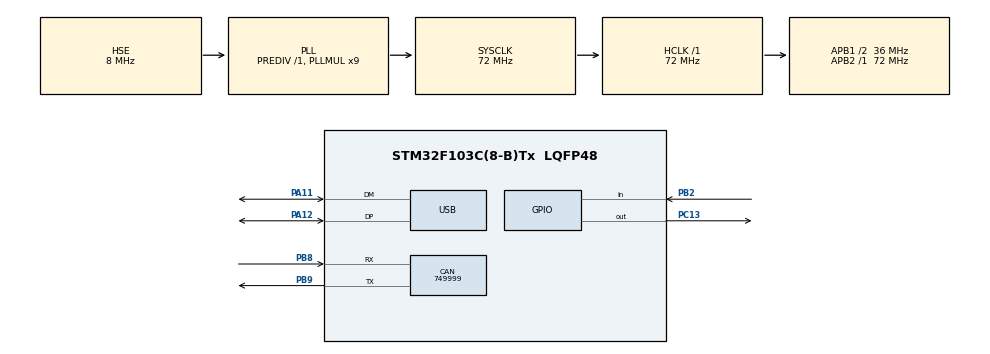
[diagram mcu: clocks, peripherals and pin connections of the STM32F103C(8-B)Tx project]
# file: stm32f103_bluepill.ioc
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CAN.CalculateBaudRate=749999
CAN.CalculateTimeBit=1333
CAN.CalculateTimeQuantum=444.44444444444446
FREERTOS.Tasks01=Task00_1ms,24,128,StartTask00,Default,NULL,Dynamic,NULL,NULL;Task01_10ms,24,128,StartTask01,Default,NULL,Dynamic,NULL,NULL;Task02_100ms,24,128,StartTask02,Default,NULL,Dynamic,NULL,NULL;Task03_1000ms,24,128,StartTask03,Default,NULL,Dynamic,NULL,NULL
FREERTOS.configUSE_NEWLIB_REENTRANT=1
Mcu.Family=STM32F1
Mcu.Name=STM32F103C(8-B)Tx
Mcu.Package=LQFP48
NVIC.PriorityGroup=NVIC_PRIORITYGROUP_4
NVIC.TIM3_IRQn=true\:15\:0\:false\:false\:true\:false\:false\:true\:true
NVIC.TimeBase=TIM3_IRQn
NVIC.TimeBaseIP=TIM3
NVIC.USB_LP_CAN1_RX0_IRQn=true\:5\:0\:false\:false\:true\:true\:false\:true\:true
PA11.Mode=Device
PA11.Signal=USB_DM
PA12.Mode=Device
PA12.Signal=USB_DP
PA13.Mode=Serial_Wire
PA13.Signal=SYS_JTMS-SWDIO
PA14.Mode=Serial_Wire
PA14.Signal=SYS_JTCK-SWCLK
PA2.Signal=USART2_TX
PA3.Signal=USART2_RX
PB2.Signal=GPIO_Input
PB8.Mode=CAN_Activate
PB8.Signal=CAN_RX
PB9.Mode=CAN_Activate
PB9.Signal=CAN_TX
PC13-TAMPER-RTC.Signal=GPIO_Output
PC14-OSC32_IN.Mode=LSE-External-Oscillator
PC14-OSC32_IN.Signal=RCC_OSC32_IN
PC15-OSC32_OUT.Mode=LSE-External-Oscillator
PC15-OSC32_OUT.Signal=RCC_OSC32_OUT
PD0-OSC_IN.Mode=HSE-External-Oscillator
PD0-OSC_IN.Signal=RCC_OSC_IN
PD1-OSC_OUT.Mode=HSE-External-Oscillator
PD1-OSC_OUT.Signal=RCC_OSC_OUT
ProjectManager.HeapSize=0x200
ProjectManager.StackSize=0x400
ProjectManager.TargetToolchain=STM32CubeIDE
RCC.AHBFreq_Value=72000000
RCC.APB1CLKDivider=RCC_HCLK_DIV2
RCC.APB1Freq_Value=36000000
RCC.APB1TimFreq_Value=72000000
RCC.APB2Freq_Value=72000000
RCC.APB2TimFreq_Value=72000000
RCC.HCLKFreq_Value=72000000
RCC.PLLMUL=RCC_PLL_MUL9
RCC.SYSCLKFreq_VALUE=72000000
RCC.SYSCLKSource=RCC_SYSCLKSOURCE_PLLCLK
RCC.USBFreq_Value=48000000
RCC.USBPrescaler=RCC_USBCLKSOURCE_PLL_DIV1_5
USB_DEVICE.CLASS_NAME_FS=DFU
USB_DEVICE.VirtualMode=Dfu
USB_DEVICE.VirtualModeFS=Dfu_FS
VP_FREERTOS_VS_CMSIS_V2.Mode=CMSIS_V2
VP_SYS_VS_tim3.Mode=TIM3
VP_USB_DEVICE_VS_USB_DEVICE_DFU_FS.Mode=DFU_FS
board=custom

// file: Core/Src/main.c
/* USER CODE BEGIN Header */
/**
  ******************************************************************************
  * @file           : main.c
  * @brief          : Main program body
  ******************************************************************************
  * @attention
  *
  * Copyright (c) 2025 STMicroelectronics.
  * All rights reserved.
  *
  * This software is licensed under terms that can be found in the LICENSE file
  * in the root directory of this software component.
  * If no LICENSE file comes with this software, it is provided AS-IS.
  *
  ******************************************************************************
  */
/* USER CODE END Header */
#include "main.h"
#include "cmsis_os.h"
#include "can.h"
#include "usb_device.h"
#include "gpio.h"

/* USER CODE BEGIN PV */
uint32_t count = 0;

/* USER CODE END PV */

void SystemClock_Config(void);
void MX_FREERTOS_Init(void);

int main(void)
{

  /* USER CODE BEGIN 1 */
  count++; // count = 1
  /* USER CODE END 1 */

  /* MCU Configuration--------------------------------------------------------*/

  /* Reset of all peripherals, Initializes the Flash interface and the Systick. */
  HAL_Init();

  /* USER CODE BEGIN Init */
  count++; // count = 2
  /* USER CODE END Init */

  /* Configure the system clock */
  SystemClock_Config();

  /* USER CODE BEGIN SysInit */
  count++; // count = 3
  /* USER CODE END SysInit */

  /* Initialize all configured peripherals */
  MX_GPIO_Init();
  MX_CAN_Init();
  /* USER CODE BEGIN 2 */
  count++; // count = 4
  /* USER CODE END 2 */

  /* Init scheduler */
  osKernelInitialize();

  /* Call init function for freertos objects (in cmsis_os2.c) */
  MX_FREERTOS_Init();

  /* Start scheduler */
  osKernelStart();

  /* We should never get here as control is now taken by the scheduler */

  /* Infinite loop */
  while (1)
  {

  }
}

void SystemClock_Config(void)
{
  RCC_OscInitTypeDef RCC_OscInitStruct = {0};
  RCC_ClkInitTypeDef RCC_ClkInitStruct = {0};
  RCC_PeriphCLKInitTypeDef PeriphClkInit = {0};

  /** Initializes the RCC Oscillators according to the specified parameters
  * in the RCC_OscInitTypeDef structure.
  */
  RCC_OscInitStruct.OscillatorType = RCC_OSCILLATORTYPE_HSE;
  RCC_OscInitStruct.HSEState = RCC_HSE_ON;
  RCC_OscInitStruct.HSEPredivValue = RCC_HSE_PREDIV_DIV1;
  RCC_OscInitStruct.HSIState = RCC_HSI_ON;
  RCC_OscInitStruct.PLL.PLLState = RCC_PLL_ON;
  RCC_OscInitStruct.PLL.PLLSource = RCC_PLLSOURCE_HSE;
  RCC_OscInitStruct.PLL.PLLMUL = RCC_PLL_MUL9;
  if (HAL_RCC_OscConfig(&RCC_OscInitStruct) != HAL_OK)
  {
    Error_Handler();
  }

  /** Initializes the CPU, AHB and APB buses clocks
  */
  RCC_ClkInitStruct.ClockType = RCC_CLOCKTYPE_HCLK|RCC_CLOCKTYPE_SYSCLK
                              |RCC_CLOCKTYPE_PCLK1|RCC_CLOCKTYPE_PCLK2;
  RCC_ClkInitStruct.SYSCLKSource = RCC_SYSCLKSOURCE_PLLCLK;
  RCC_ClkInitStruct.AHBCLKDivider = RCC_SYSCLK_DIV1;
  RCC_ClkInitStruct.APB1CLKDivider = RCC_HCLK_DIV2;
  RCC_ClkInitStruct.APB2CLKDivider = RCC_HCLK_DIV1;

  if (HAL_RCC_ClockConfig(&RCC_ClkInitStruct, FLASH_LATENCY_2) != HAL_OK)
  {
    Error_Handler();
  }
  PeriphClkInit.PeriphClockSelection = RCC_PERIPHCLK_USB;
  PeriphClkInit.UsbClockSelection = RCC_USBCLKSOURCE_PLL_DIV1_5;
  if (HAL_RCCEx_PeriphCLKConfig(&PeriphClkInit) != HAL_OK)
  {
    Error_Handler();
  }
}

void HAL_TIM_PeriodElapsedCallback(TIM_HandleTypeDef *htim)
{
  if (htim->Instance == TIM3)
  {
    HAL_IncTick();
  }
}

void Error_Handler(void)
{
  __disable_irq();
  while (1)
  {
  }
}

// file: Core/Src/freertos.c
/* USER CODE BEGIN Header */
/**
  ******************************************************************************
  * File Name          : freertos.c
  * Description        : Code for freertos applications
  ******************************************************************************
  * @attention
  *
  * Copyright (c) 2025 STMicroelectronics.
  * All rights reserved.
  *
  * This software is licensed under terms that can be found in the LICENSE file
  * in the root directory of this software component.
  * If no LICENSE file comes with this software, it is provided AS-IS.
  *
  ******************************************************************************
  */
/* USER CODE END Header */

#include "FreeRTOS.h"
#include "task.h"
#include "main.h"
#include "cmsis_os.h"

/* USER CODE BEGIN Variables */
uint32_t task00 = 0;
uint32_t task01 = 0;
uint32_t task02 = 0;
uint32_t task03 = 0;

/* USER CODE END Variables */
/* Definitions for Task00_1ms */
osThreadId_t Task00_1msHandle;
const osThreadAttr_t Task00_1ms_attributes = {
  .name = "Task00_1ms",
  .stack_size = 128 * 4,
  .priority = (osPriority_t) osPriorityNormal,
};
/* Definitions for Task01_10ms */
osThreadId_t Task01_10msHandle;
const osThreadAttr_t Task01_10ms_attributes = {
  .name = "Task01_10ms",
  .stack_size = 128 * 4,
  .priority = (osPriority_t) osPriorityNormal,
};
/* Definitions for Task02_100ms */
osThreadId_t Task02_100msHandle;
const osThreadAttr_t Task02_100ms_attributes = {
  .name = "Task02_100ms",
  .stack_size = 128 * 4,
  .priority = (osPriority_t) osPriorityNormal,
};
/* Definitions for Task03_1000ms */
osThreadId_t Task03_1000msHandle;
const osThreadAttr_t Task03_1000ms_attributes = {
  .name = "Task03_1000ms",
  .stack_size = 128 * 4,
  .priority = (osPriority_t) osPriorityNormal,
};

void StartTask00(void *argument);
void StartTask01(void *argument);
void StartTask02(void *argument);
void StartTask03(void *argument);

extern void MX_USB_DEVICE_Init(void);
void MX_FREERTOS_Init(void); /* (MISRA C 2004 rule 8.1) */

void MX_FREERTOS_Init(void) {

  /* Create the thread(s) */
  /* creation of Task00_1ms */
  Task00_1msHandle = osThreadNew(StartTask00, NULL, &Task00_1ms_attributes);

  /* creation of Task01_10ms */
  Task01_10msHandle = osThreadNew(StartTask01, NULL, &Task01_10ms_attributes);

  /* creation of Task02_100ms */
  Task02_100msHandle = osThreadNew(StartTask02, NULL, &Task02_100ms_attributes);

  /* creation of Task03_1000ms */
  Task03_1000msHandle = osThreadNew(StartTask03, NULL, &Task03_1000ms_attributes);

}

void StartTask00(void *argument)
{
  /* init code for USB_DEVICE */
  MX_USB_DEVICE_Init();
  /* USER CODE BEGIN StartTask00 */
  /* Infinite loop */
  for(;;)
  {
	task00++;
    //printf("Task00: %lu\n", (unsigned long)task00);
    osDelay(1);
  }
  /* USER CODE END StartTask00 */
}

void StartTask01(void *argument)
{
  /* USER CODE BEGIN StartTask01 */
  /* Infinite loop */
  for(;;)
  {
	task01++;
	//printf("Task01: %lu\n", (unsigned long)task01);
    osDelay(10);
  }
  /* USER CODE END StartTask01 */
}

void StartTask02(void *argument)
{
  /* USER CODE BEGIN StartTask02 */
  /* Infinite loop */
  for(;;)
  {
	task02++;
	//printf("Task02: %lu\n", (unsigned long)task02);
	//HAL_GPIO_TogglePin(GPIOB, GPIO_PIN_10);
    osDelay(100);
  }
  /* USER CODE END StartTask02 */
}

void StartTask03(void *argument)
{
  /* USER CODE BEGIN StartTask03 */
  /* Infinite loop */
  for(;;)
  {
	task03++;
	printf("Task03: %lu\n", (unsigned long)task03);
	//HAL_GPIO_TogglePin(GPIOC, GPIO_PIN_13);
    osDelay(1000);
  }
  /* USER CODE END StartTask03 */
}
